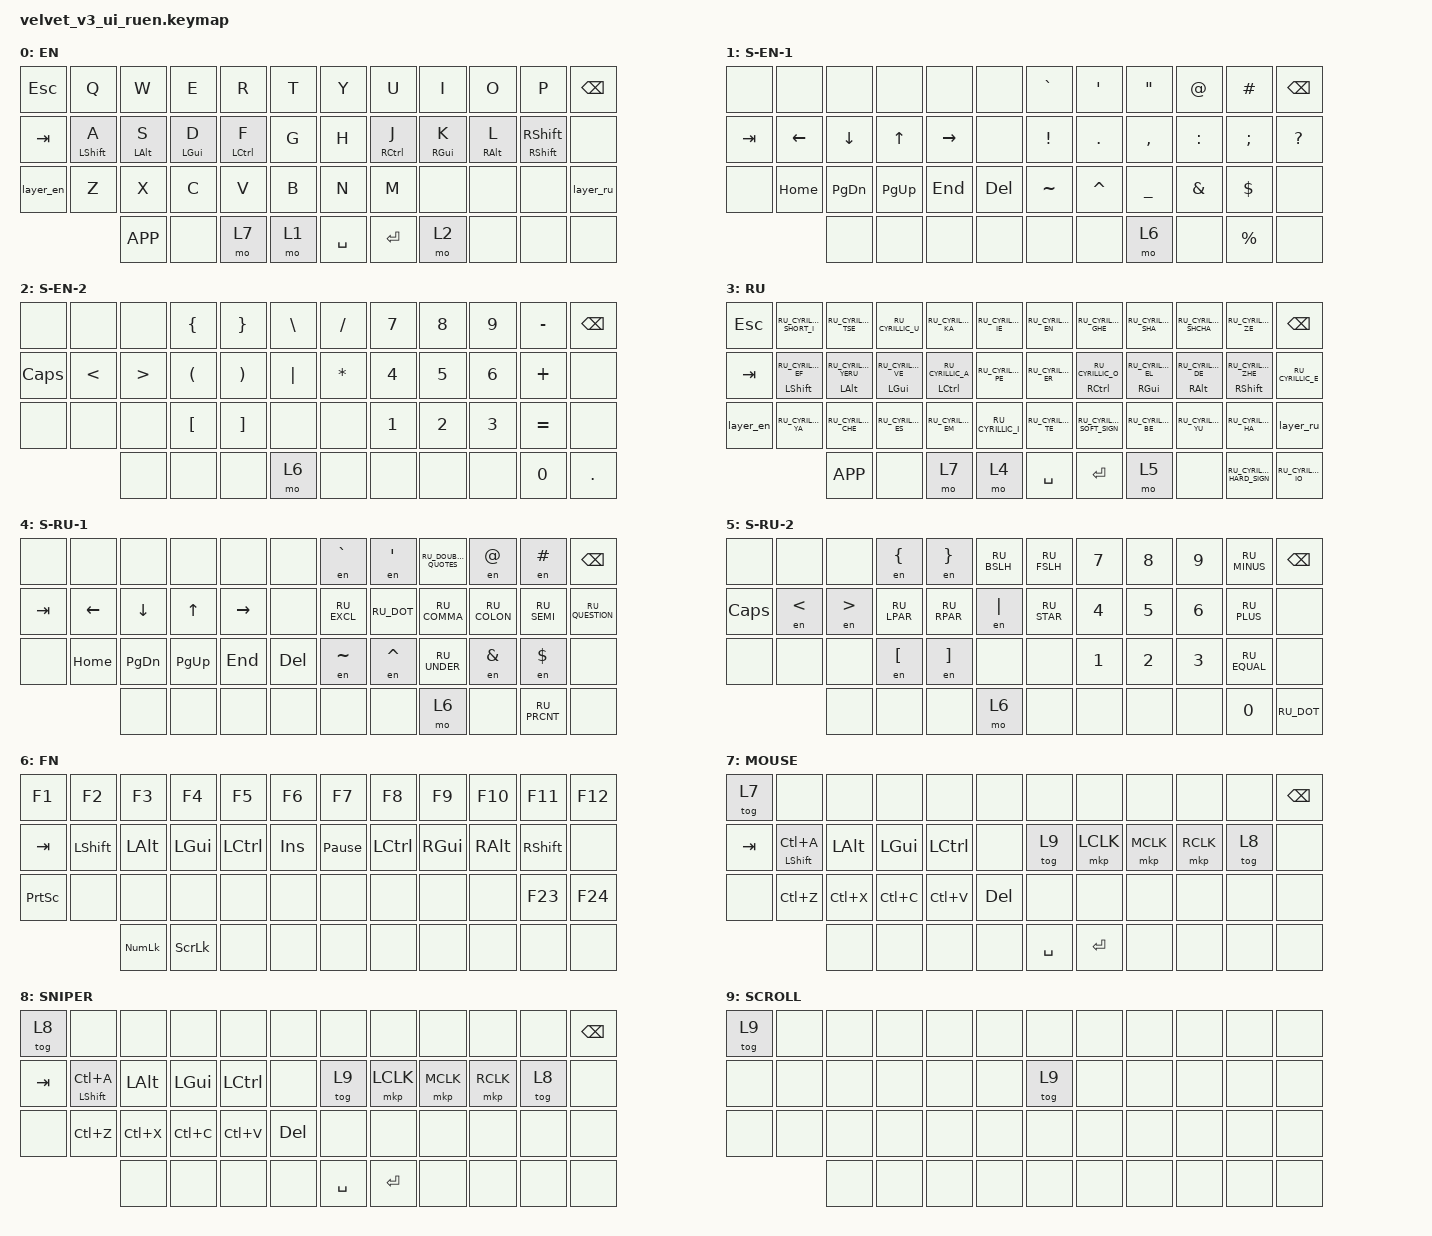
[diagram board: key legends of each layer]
#include "keys_ru.h"
#include <dt-bindings/zmk/input_transform.h>
#include <input/processors.dtsi>
#include <zephyr/dt-bindings/input/input-event-codes.h>
#include <behaviors.dtsi>
#include <dt-bindings/zmk/keys.h>
#include <dt-bindings/zmk/pointing.h>

&mt {
    flavor = "tap-preferred";
    quick-tap-ms = <100>;
};

/ {
    combos {
        compatible = "zmk,combos";

        cmb_tog_mouse_on {
            bindings = <&tog 7>;
            key-positions = <7 8 9>;
            layers = <0 3>;
        };
    };

    macros {
        to_ru: to_ru {
            compatible = "zmk,behavior-macro";
            #binding-cells = <0>;
            bindings = <&kp LS(LC(N2))>;
            label = "TO_RU";
            wait-ms = <0>;
            tap-ms = <30>;
        };

        to_en: to_en {
            compatible = "zmk,behavior-macro";
            #binding-cells = <0>;
            bindings = <&kp LS(LC(N1))>;
            label = "TO_EN";
            wait-ms = <0>;
            tap-ms = <30>;
        };

        layer_en: layer_en {
            compatible = "zmk,behavior-macro";
            #binding-cells = <0>;
            bindings = <&to 0 &to_en>;
            label = "LAYER_EN";
            wait-ms = <0>;
            tap-ms = <30>;
        };

        layer_ru: layer_ru {
            compatible = "zmk,behavior-macro";
            #binding-cells = <0>;
            bindings = <&to 3 &to_ru>;
            label = "LAYER_RU";
            tap-ms = <30>;
            wait-ms = <0>;
        };

        en: en {
            compatible = "zmk,behavior-macro-one-param";
            #binding-cells = <1>;
            bindings =
                <&to_en>,
                <&macro_press>,
                <&macro_param_1to1 &kp MACRO_PLACEHOLDER>,
                <&macro_pause_for_release>,
                <&macro_release>,
                <&macro_param_1to1 &kp MACRO_PLACEHOLDER>,
                <&macro_tap>,
                <&to_ru>;

            label = "EN";
            wait-ms = <0>;
            tap-ms = <30>;
        };
    };

    keymap {
        compatible = "zmk,keymap";

        en {
            bindings = <
&kp ESC    &kp Q             &kp W           &kp E           &kp R               &kp T                        &kp Y  &kp U                &kp I            &kp O            &kp P                        &kp BSPC
&kp TAB    &mt LEFT_SHIFT A  &mt LEFT_ALT S  &mt LEFT_GUI D  &mt LEFT_CONTROL F  &kp G                        &kp H  &mt RIGHT_CONTROL J  &mt RIGHT_GUI K  &mt RIGHT_ALT L  &mt RIGHT_SHIFT RIGHT_SHIFT  &none
&layer_en  &kp Z             &kp X           &kp C           &kp V               &kp B                        &kp N  &kp M                &none            &none            &none                        &layer_ru
                             &kp K_APP       &none           &mo 7               &mo 1  &kp SPACE    &kp RET  &mo 2  &none                &none            &none
            >;

            display-name = "EN";
        };

        sym_en_1 {
            bindings = <
&none    &none     &none          &none        &none      &none                    &kp GRAVE  &kp APOS   &kp DQT    &kp AT     &kp HASH  &kp BACKSPACE
&kp TAB  &kp LEFT  &kp DOWN       &kp UP       &kp RIGHT  &none                    &kp EXCL   &kp DOT    &kp COMMA  &kp COLON  &kp SEMI  &kp QMARK
&none    &kp HOME  &kp PAGE_DOWN  &kp PAGE_UP  &kp END    &kp DEL                  &kp TILDE  &kp CARET  &kp UNDER  &kp AMPS   &kp DLLR  &none
                   &none          &none        &none      &none    &none    &none  &mo 6      &none      &kp PRCNT  &none
            >;

            label = "S-EN-1";
        };

        sym_en_2 {
            bindings = <
&none     &none   &none   &kp LBRC  &kp RBRC  &kp BSLH                  &kp FSLH  &kp N7  &kp N8  &kp N9   &kp MINUS  &kp BACKSPACE
&kp CAPS  &kp LT  &kp GT  &kp LPAR  &kp RPAR  &kp PIPE                  &kp STAR  &kp N4  &kp N5  &kp N6   &kp PLUS   &none
&none     &none   &none   &kp LBKT  &kp RBKT  &none                     &none     &kp N1  &kp N2  &kp N3   &kp EQUAL  &none
                  &none   &none     &none     &mo 6     &none    &none  &none     &none   &kp N0  &kp DOT
            >;

            label = "S-EN-2";
        };

        ru {
            display-name = "RU";
            bindings = <
&kp ESC    &kp RU_CYRILLIC_SHORT_I        &kp RU_CYRILLIC_TSE            &kp RU_CYRILLIC_U            &kp RU_CYRILLIC_KA              &kp RU_CYRILLIC_IE                        &kp RU_CYRILLIC_EN  &kp RU_CYRILLIC_GHE              &kp RU_CYRILLIC_SHA           &kp RU_CYRILLIC_SHCHA         &kp RU_CYRILLIC_ZE               &kp BSPC
&kp TAB    &mt LEFT_SHIFT RU_CYRILLIC_EF  &mt LEFT_ALT RU_CYRILLIC_YERU  &mt LEFT_GUI RU_CYRILLIC_VE  &mt LEFT_CONTROL RU_CYRILLIC_A  &kp RU_CYRILLIC_PE                        &kp RU_CYRILLIC_ER  &mt RIGHT_CONTROL RU_CYRILLIC_O  &mt RIGHT_GUI RU_CYRILLIC_EL  &mt RIGHT_ALT RU_CYRILLIC_DE  &mt RIGHT_SHIFT RU_CYRILLIC_ZHE  &kp RU_CYRILLIC_E
&layer_en  &kp RU_CYRILLIC_YA             &kp RU_CYRILLIC_CHE            &kp RU_CYRILLIC_ES           &kp RU_CYRILLIC_EM              &kp RU_CYRILLIC_I                         &kp RU_CYRILLIC_TE  &kp RU_CYRILLIC_SOFT_SIGN        &kp RU_CYRILLIC_BE            &kp RU_CYRILLIC_YU            &kp RU_CYRILLIC_HA               &layer_ru
                                          &kp K_APP                      &none                        &mo 7                           &mo 4               &kp SPACE    &kp RET  &mo 5               &none                            &kp RU_CYRILLIC_HARD_SIGN     &kp RU_CYRILLIC_IO
            >;
        };

        sym_ru_1 {
            bindings = <
&none    &none     &none          &none        &none      &none                    &en GRAVE    &en APOS    &kp RU_DOUBLE_QUOTES  &en AT        &en HASH     &kp BACKSPACE
&kp TAB  &kp LEFT  &kp DOWN       &kp UP       &kp RIGHT  &none                    &kp RU_EXCL  &kp RU_DOT  &kp RU_COMMA          &kp RU_COLON  &kp RU_SEMI  &kp RU_QUESTION
&none    &kp HOME  &kp PAGE_DOWN  &kp PAGE_UP  &kp END    &kp DEL                  &en TILDE    &en CARET   &kp RU_UNDER          &en AMPS      &en DLLR     &none
                   &none          &none        &none      &none    &none    &none  &mo 6        &none       &kp RU_PRCNT          &none
            >;

            label = "S-RU-1";
        };

        sym_ru_2 {
            bindings = <
&none     &none   &none   &en LBRC     &en RBRC     &kp RU_BSLH                  &kp RU_FSLH  &kp N7  &kp N8  &kp N9      &kp RU_MINUS  &kp BACKSPACE
&kp CAPS  &en LT  &en GT  &kp RU_LPAR  &kp RU_RPAR  &en PIPE                     &kp RU_STAR  &kp N4  &kp N5  &kp N6      &kp RU_PLUS   &none
&none     &none   &none   &en LBKT     &en RBKT     &none                        &none        &kp N1  &kp N2  &kp N3      &kp RU_EQUAL  &none
                  &none   &none        &none        &mo 6        &none    &none  &none        &none   &kp N0  &kp RU_DOT
            >;

            label = "S-RU-2";
        };

        fn {
            bindings = <
&kp F1           &kp F2     &kp F3          &kp F4          &kp F5     &kp F6                      &kp F7           &kp F8     &kp F9    &kp F10   &kp F11    &kp F12
&kp TAB          &kp LSHFT  &kp LALT        &kp LGUI        &kp LCTRL  &kp INSERT                  &kp PAUSE_BREAK  &kp LCTRL  &kp RGUI  &kp RALT  &kp RSHFT  &none
&kp PRINTSCREEN  &none      &none           &none           &none      &none                       &none            &none      &none     &none     &kp F23    &kp F24
                            &kp KP_NUMLOCK  &kp SCROLLLOCK  &none      &none       &none    &none  &none            &none      &none     &none
            >;

            label = "FN";
        };

        mouse {
            bindings = <
&tog 7   &none                 &none      &none      &none      &none                            &none   &none      &none      &none      &none   &kp BSPC
&kp TAB  &mt LEFT_SHIFT LC(A)  &kp LALT   &kp LGUI   &kp LCTRL  &none                            &tog 9  &mkp LCLK  &mkp MCLK  &mkp RCLK  &tog 8  &none
&none    &kp LC(Z)             &kp LC(X)  &kp LC(C)  &kp LC(V)  &kp DEL                          &none   &none      &none      &none      &none   &none
                               &none      &none      &none      &none    &kp SPACE    &kp ENTER  &none   &none      &none      &none
            >;

            display-name = "MOUSE";
        };

        sniper {
            display-name = "SNIPER";
            bindings = <
&tog 8   &none                 &none      &none      &none      &none                            &none   &none      &none      &none      &none   &kp BSPC
&kp TAB  &mt LEFT_SHIFT LC(A)  &kp LALT   &kp LGUI   &kp LCTRL  &none                            &tog 9  &mkp LCLK  &mkp MCLK  &mkp RCLK  &tog 8  &none
&none    &kp LC(Z)             &kp LC(X)  &kp LC(C)  &kp LC(V)  &kp DEL                          &none   &none      &none      &none      &none   &none
                               &none      &none      &none      &none    &kp SPACE    &kp ENTER  &none   &none      &none      &none
            >;

            label = "SNIPER";
        };

        scroll {
            bindings = <
&tog 9  &none  &none  &none  &none  &none                  &none   &none  &none  &none  &none  &none
&none   &none  &none  &none  &none  &none                  &tog 9  &none  &none  &none  &none  &none
&none   &none  &none  &none  &none  &none                  &none   &none  &none  &none  &none  &none
               &none  &none  &none  &none  &none    &none  &none   &none  &none  &none
            >;

            display-name = "SCROLL";
        };
    };
};

&trackball { cpi = <2000>; };

&trackball_listener {
    input-processors = <&zip_x_scaler 1 1>, <&zip_y_scaler 1 2>;

    scroller {
        layers = <9>;
        input-processors =
            <&zip_xy_transform INPUT_TRANSFORM_Y_INVERT>,
            <&zip_xy_scaler 1 32>,
            <&zip_xy_to_scroll_mapper>;
    };

    sniper {
        layers = <8>;
        input-processors = <&zip_xy_scaler 1 10>;
    };
};
